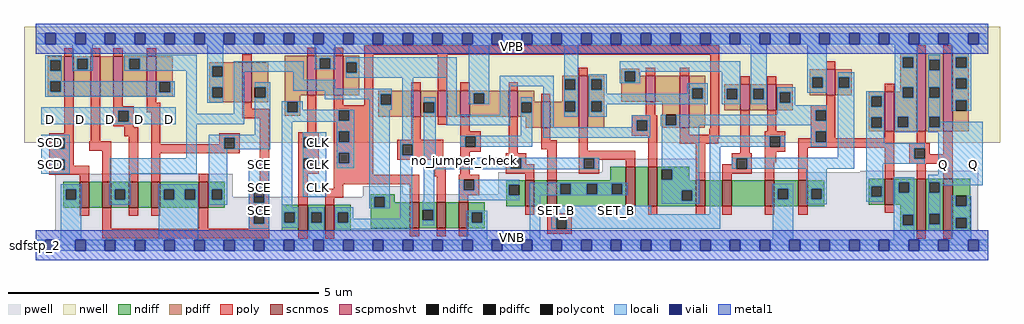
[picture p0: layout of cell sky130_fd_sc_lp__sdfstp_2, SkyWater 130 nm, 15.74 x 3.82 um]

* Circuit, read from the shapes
.subckt sky130_fd_sc_lp__sdfstp_2 CLK D SCD SCE SET_B VGND VNB VPB VPWR Q
XM1 n1 SCD VGND VNB sky130_fd_pr__nfet_01v8 w=0.42 l=0.15
XM2 n2 SCE n1 VNB sky130_fd_pr__nfet_01v8 w=0.42 l=0.15
XM3 n3 D n2 VNB sky130_fd_pr__nfet_01v8 w=0.42 l=0.15
XM4 VGND n4 n3 VNB sky130_fd_pr__nfet_01v8 w=0.42 l=0.15
XM5 n4 SCE VGND VNB sky130_fd_pr__nfet_01v8 w=0.42 l=0.15
XM6 VGND CLK n5 VNB sky130_fd_pr__nfet_01v8 w=0.42 l=0.15
XM7 n6 n5 VGND VNB sky130_fd_pr__nfet_01v8 w=0.42 l=0.15
XM8 n7 n5 n2 VNB sky130_fd_pr__nfet_01v8 w=0.42 l=0.15
XM9 n8 n6 n7 VNB sky130_fd_pr__nfet_01v8 w=0.42 l=0.15
XM10 VGND n9 n8 VNB sky130_fd_pr__nfet_01v8 w=0.42 l=0.15
XM11 n10 n7 n9 VNB sky130_fd_pr__nfet_01v8 w=0.42 l=0.15
XM12 VGND SET_B n10 VNB sky130_fd_pr__nfet_01v8 w=0.42 l=0.15
XM13 n11 n7 VGND VNB sky130_fd_pr__nfet_01v8 w=0.64 l=0.15
XM14 n12 n6 n11 VNB sky130_fd_pr__nfet_01v8 w=0.64 l=0.15
XM15 n13 n5 n12 VNB sky130_fd_pr__nfet_01v8 w=0.42 l=0.15
XM16 n14 n15 n13 VNB sky130_fd_pr__nfet_01v8 w=0.42 l=0.15
XM17 VGND SET_B n14 VNB sky130_fd_pr__nfet_01v8 w=0.42 l=0.15
XM18 n15 n12 VGND VNB sky130_fd_pr__nfet_01v8 w=0.42 l=0.15
XM19 VGND n12 n16 VNB sky130_fd_pr__nfet_01v8 w=0.42 l=0.15
XM20 Q n16 VGND VNB sky130_fd_pr__nfet_01v8 w=0.84 l=0.15 m=2
XM21 VPWR SCD n17 VPB sky130_fd_pr__pfet_01v8_hvt w=0.64 l=0.15
XM22 n18 SCE VPWR VPB sky130_fd_pr__pfet_01v8_hvt w=0.64 l=0.15
XM23 n2 D n18 VPB sky130_fd_pr__pfet_01v8_hvt w=0.64 l=0.15
XM24 n17 n4 n2 VPB sky130_fd_pr__pfet_01v8_hvt w=0.64 l=0.15
XM25 n4 SCE VPWR VPB sky130_fd_pr__pfet_01v8_hvt w=0.64 l=0.15
XM26 VPWR CLK n5 VPB sky130_fd_pr__pfet_01v8_hvt w=0.64 l=0.15
XM27 n6 n5 VPWR VPB sky130_fd_pr__pfet_01v8_hvt w=0.64 l=0.15
XM28 n7 n6 n2 VPB sky130_fd_pr__pfet_01v8_hvt w=0.42 l=0.15
XM29 n19 n5 n7 VPB sky130_fd_pr__pfet_01v8_hvt w=0.42 l=0.15
XM30 VPWR n9 n19 VPB sky130_fd_pr__pfet_01v8_hvt w=0.42 l=0.15
XM31 n9 n7 VPWR VPB sky130_fd_pr__pfet_01v8_hvt w=0.42 l=0.15
XM32 VPWR SET_B n9 VPB sky130_fd_pr__pfet_01v8_hvt w=0.42 l=0.15
XM33 n20 n7 VPWR VPB sky130_fd_pr__pfet_01v8_hvt w=0.84 l=0.15
XM34 n12 n6 n21 VPB sky130_fd_pr__pfet_01v8_hvt w=0.42 l=0.15
XM35 n20 n5 n12 VPB sky130_fd_pr__pfet_01v8_hvt w=0.84 l=0.15
XM36 VPWR n15 n21 VPB sky130_fd_pr__pfet_01v8_hvt w=0.42 l=0.15
XM37 n12 SET_B VPWR VPB sky130_fd_pr__pfet_01v8_hvt w=0.42 l=0.15
XM38 n15 n12 VPWR VPB sky130_fd_pr__pfet_01v8_hvt w=0.42 l=0.15
XM39 VPWR n12 n16 VPB sky130_fd_pr__pfet_01v8_hvt w=0.64 l=0.15
XM40 Q n16 VPWR VPB sky130_fd_pr__pfet_01v8_hvt w=1.26 l=0.15 m=2
.ends

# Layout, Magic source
magic
tech sky130A
magscale 1 2
<< nwell >>
rect -38 331 3110 704
<< pwell >>
rect 1827 235 2133 279
rect 2660 235 3040 241
rect 63 157 635 231
rect 1054 165 1184 191
rect 1491 165 3040 235
rect 1054 157 3040 165
rect 63 49 3040 157
rect 0 0 3072 49
<< scnmos >>
rect 142 121 172 205
rect 214 121 244 205
rect 300 121 330 205
rect 372 121 402 205
rect 526 121 556 205
rect 847 47 877 131
rect 933 47 963 131
rect 1207 55 1237 139
rect 1293 55 1323 139
rect 1365 55 1395 139
rect 1578 125 1608 209
rect 1650 125 1680 209
rect 1903 125 1933 253
rect 1975 125 2005 253
rect 2129 125 2159 209
rect 2214 125 2244 209
rect 2352 125 2382 209
rect 2460 125 2490 209
rect 2739 131 2769 215
rect 2841 47 2871 215
rect 2927 47 2957 215
<< scpmoshvt >>
rect 92 481 122 609
rect 178 481 208 609
rect 250 481 280 609
rect 358 481 388 609
rect 666 462 696 590
rect 875 483 905 611
rect 961 483 991 611
rect 1211 415 1241 499
rect 1297 415 1327 499
rect 1369 415 1399 499
rect 1525 415 1555 499
rect 1630 379 1660 463
rect 1751 379 1781 547
rect 1968 463 1998 547
rect 2077 379 2107 547
rect 2273 435 2303 519
rect 2359 435 2389 519
rect 2549 483 2579 567
rect 2739 367 2769 495
rect 2841 367 2871 619
rect 2927 367 2957 619
<< ndiff >>
rect 89 180 142 205
rect 89 146 97 180
rect 131 146 142 180
rect 89 121 142 146
rect 172 121 214 205
rect 244 180 300 205
rect 244 146 255 180
rect 289 146 300 180
rect 244 121 300 146
rect 330 121 372 205
rect 402 180 526 205
rect 402 146 413 180
rect 447 146 481 180
rect 515 146 526 180
rect 402 121 526 146
rect 556 180 609 205
rect 556 146 567 180
rect 601 146 609 180
rect 556 121 609 146
rect 1080 157 1158 165
rect 794 106 847 131
rect 794 72 802 106
rect 836 72 847 106
rect 794 47 847 72
rect 877 106 933 131
rect 877 72 888 106
rect 922 72 933 106
rect 877 47 933 72
rect 963 106 1016 131
rect 963 72 974 106
rect 1008 72 1016 106
rect 963 47 1016 72
rect 1080 123 1092 157
rect 1126 139 1158 157
rect 1853 209 1903 253
rect 1517 195 1578 209
rect 1517 161 1525 195
rect 1559 161 1578 195
rect 1126 123 1207 139
rect 1080 55 1207 123
rect 1237 115 1293 139
rect 1237 81 1248 115
rect 1282 81 1293 115
rect 1237 55 1293 81
rect 1323 55 1365 139
rect 1395 106 1448 139
rect 1517 125 1578 161
rect 1608 125 1650 209
rect 1680 198 1903 209
rect 1680 164 1691 198
rect 1725 164 1777 198
rect 1811 164 1858 198
rect 1892 164 1903 198
rect 1680 125 1903 164
rect 1933 125 1975 253
rect 2005 245 2107 253
rect 2005 211 2019 245
rect 2053 211 2107 245
rect 2005 209 2107 211
rect 2005 177 2129 209
rect 2005 143 2084 177
rect 2118 143 2129 177
rect 2005 125 2129 143
rect 2159 125 2214 209
rect 2244 125 2352 209
rect 2382 183 2460 209
rect 2382 149 2393 183
rect 2427 149 2460 183
rect 2382 125 2460 149
rect 2490 183 2543 209
rect 2490 149 2501 183
rect 2535 149 2543 183
rect 2490 125 2543 149
rect 2686 190 2739 215
rect 2686 156 2694 190
rect 2728 156 2739 190
rect 2686 131 2739 156
rect 2769 203 2841 215
rect 2769 169 2784 203
rect 2818 169 2841 203
rect 2769 131 2841 169
rect 1395 72 1406 106
rect 1440 72 1448 106
rect 1395 55 1448 72
rect 2788 99 2841 131
rect 2788 65 2796 99
rect 2830 65 2841 99
rect 2788 47 2841 65
rect 2871 203 2927 215
rect 2871 169 2882 203
rect 2916 169 2927 203
rect 2871 101 2927 169
rect 2871 67 2882 101
rect 2916 67 2927 101
rect 2871 47 2927 67
rect 2957 159 3014 215
rect 2957 125 2968 159
rect 3002 125 3014 159
rect 2957 89 3014 125
rect 2957 55 2968 89
rect 3002 55 3014 89
rect 2957 47 3014 55
<< pdiff >>
rect 39 597 92 609
rect 39 563 47 597
rect 81 563 92 597
rect 39 529 92 563
rect 39 495 47 529
rect 81 495 92 529
rect 39 481 92 495
rect 122 601 178 609
rect 122 567 133 601
rect 167 567 178 601
rect 122 481 178 567
rect 208 481 250 609
rect 280 601 358 609
rect 280 567 302 601
rect 336 567 358 601
rect 280 481 358 567
rect 388 527 441 609
rect 388 493 399 527
rect 433 493 441 527
rect 388 481 441 493
rect 559 578 666 590
rect 559 544 569 578
rect 603 544 666 578
rect 559 510 666 544
rect 559 476 569 510
rect 603 476 666 510
rect 559 462 666 476
rect 696 510 749 590
rect 696 476 707 510
rect 741 476 749 510
rect 696 462 749 476
rect 803 483 875 611
rect 905 603 961 611
rect 905 569 916 603
rect 950 569 961 603
rect 905 483 961 569
rect 991 591 1044 611
rect 991 557 1002 591
rect 1036 557 1044 591
rect 991 483 1044 557
rect 803 463 853 483
rect 803 429 811 463
rect 845 429 853 463
rect 803 417 853 429
rect 1888 561 1946 569
rect 1698 535 1751 547
rect 1698 501 1706 535
rect 1740 501 1751 535
rect 1104 487 1211 499
rect 1104 453 1112 487
rect 1146 453 1211 487
rect 1104 415 1211 453
rect 1241 461 1297 499
rect 1241 427 1252 461
rect 1286 427 1297 461
rect 1241 415 1297 427
rect 1327 415 1369 499
rect 1399 491 1525 499
rect 1399 457 1412 491
rect 1446 457 1525 491
rect 1399 415 1525 457
rect 1555 463 1608 499
rect 1698 465 1751 501
rect 1698 463 1706 465
rect 1555 461 1630 463
rect 1555 427 1566 461
rect 1600 427 1630 461
rect 1555 415 1630 427
rect 1580 379 1630 415
rect 1660 431 1706 463
rect 1740 431 1751 465
rect 1660 379 1751 431
rect 1781 535 1834 547
rect 1781 501 1792 535
rect 1826 501 1834 535
rect 1781 465 1834 501
rect 1781 431 1792 465
rect 1826 431 1834 465
rect 1888 527 1900 561
rect 1934 547 1946 561
rect 1934 527 1968 547
rect 1888 463 1968 527
rect 1998 463 2077 547
rect 1781 379 1834 431
rect 2020 421 2077 463
rect 2020 387 2032 421
rect 2066 387 2077 421
rect 2020 379 2077 387
rect 2107 507 2160 547
rect 2107 473 2118 507
rect 2152 473 2160 507
rect 2107 390 2160 473
rect 2107 379 2157 390
rect 2788 607 2841 619
rect 2788 573 2796 607
rect 2830 573 2841 607
rect 2496 542 2549 567
rect 2220 505 2273 519
rect 2220 471 2228 505
rect 2262 471 2273 505
rect 2220 435 2273 471
rect 2303 505 2359 519
rect 2303 471 2314 505
rect 2348 471 2359 505
rect 2303 435 2359 471
rect 2389 494 2442 519
rect 2389 460 2400 494
rect 2434 460 2442 494
rect 2496 508 2504 542
rect 2538 508 2549 542
rect 2496 483 2549 508
rect 2579 542 2632 567
rect 2579 508 2590 542
rect 2624 508 2632 542
rect 2579 483 2632 508
rect 2788 510 2841 573
rect 2788 495 2796 510
rect 2389 435 2442 460
rect 2686 481 2739 495
rect 2686 447 2694 481
rect 2728 447 2739 481
rect 2686 413 2739 447
rect 2686 379 2694 413
rect 2728 379 2739 413
rect 2686 367 2739 379
rect 2769 476 2796 495
rect 2830 476 2841 510
rect 2769 415 2841 476
rect 2769 381 2780 415
rect 2814 381 2841 415
rect 2769 367 2841 381
rect 2871 599 2927 619
rect 2871 565 2882 599
rect 2916 565 2927 599
rect 2871 509 2927 565
rect 2871 475 2882 509
rect 2916 475 2927 509
rect 2871 415 2927 475
rect 2871 381 2882 415
rect 2916 381 2927 415
rect 2871 367 2927 381
rect 2957 607 3010 619
rect 2957 573 2968 607
rect 3002 573 3010 607
rect 2957 539 3010 573
rect 2957 505 2968 539
rect 3002 505 3010 539
rect 2957 467 3010 505
rect 2957 433 2968 467
rect 3002 433 3010 467
rect 2957 367 3010 433
<< ndiffc >>
rect 97 146 131 180
rect 255 146 289 180
rect 413 146 447 180
rect 481 146 515 180
rect 567 146 601 180
rect 802 72 836 106
rect 888 72 922 106
rect 974 72 1008 106
rect 1092 123 1126 157
rect 1525 161 1559 195
rect 1248 81 1282 115
rect 1691 164 1725 198
rect 1777 164 1811 198
rect 1858 164 1892 198
rect 2019 211 2053 245
rect 2084 143 2118 177
rect 2393 149 2427 183
rect 2501 149 2535 183
rect 2694 156 2728 190
rect 2784 169 2818 203
rect 1406 72 1440 106
rect 2796 65 2830 99
rect 2882 169 2916 203
rect 2882 67 2916 101
rect 2968 125 3002 159
rect 2968 55 3002 89
<< pdiffc >>
rect 47 563 81 597
rect 47 495 81 529
rect 133 567 167 601
rect 302 567 336 601
rect 399 493 433 527
rect 569 544 603 578
rect 569 476 603 510
rect 707 476 741 510
rect 916 569 950 603
rect 1002 557 1036 591
rect 811 429 845 463
rect 1706 501 1740 535
rect 1112 453 1146 487
rect 1252 427 1286 461
rect 1412 457 1446 491
rect 1566 427 1600 461
rect 1706 431 1740 465
rect 1792 501 1826 535
rect 1792 431 1826 465
rect 1900 527 1934 561
rect 2032 387 2066 421
rect 2118 473 2152 507
rect 2796 573 2830 607
rect 2228 471 2262 505
rect 2314 471 2348 505
rect 2400 460 2434 494
rect 2504 508 2538 542
rect 2590 508 2624 542
rect 2694 447 2728 481
rect 2694 379 2728 413
rect 2796 476 2830 510
rect 2780 381 2814 415
rect 2882 565 2916 599
rect 2882 475 2916 509
rect 2882 381 2916 415
rect 2968 573 3002 607
rect 2968 505 3002 539
rect 2968 433 3002 467
<< poly >>
rect 92 609 122 635
rect 178 609 208 635
rect 250 609 280 635
rect 358 609 388 635
rect 666 590 696 616
rect 875 611 905 637
rect 961 611 991 637
rect 1059 615 2205 645
rect 2841 619 2871 645
rect 2927 619 2957 645
rect 92 361 122 481
rect 44 345 122 361
rect 44 311 60 345
rect 94 311 122 345
rect 178 335 208 481
rect 250 449 280 481
rect 358 459 388 481
rect 250 433 316 449
rect 250 399 266 433
rect 300 399 316 433
rect 358 429 402 459
rect 250 383 316 399
rect 286 381 316 383
rect 286 351 330 381
rect 44 277 122 311
rect 172 305 244 335
rect 44 243 60 277
rect 94 257 122 277
rect 94 243 172 257
rect 44 227 172 243
rect 142 205 172 227
rect 214 205 244 305
rect 300 205 330 351
rect 372 326 402 429
rect 666 440 696 462
rect 666 410 753 440
rect 592 346 658 362
rect 592 326 608 346
rect 372 312 608 326
rect 642 312 658 346
rect 372 296 658 312
rect 372 205 402 296
rect 526 205 556 231
rect 723 187 753 410
rect 875 365 905 483
rect 961 451 991 483
rect 1059 451 1089 615
rect 1211 499 1241 525
rect 1297 499 1327 615
rect 1751 547 1781 573
rect 1369 499 1399 525
rect 1525 499 1555 525
rect 961 435 1089 451
rect 961 401 977 435
rect 1011 401 1089 435
rect 1630 463 1660 489
rect 961 367 1089 401
rect 687 171 753 187
rect 687 137 703 171
rect 737 137 753 171
rect 142 95 172 121
rect 214 53 244 121
rect 300 95 330 121
rect 372 95 402 121
rect 526 53 556 121
rect 687 103 753 137
rect 847 349 913 365
rect 847 315 863 349
rect 897 315 913 349
rect 847 281 913 315
rect 847 247 863 281
rect 897 247 913 281
rect 847 231 913 247
rect 961 333 977 367
rect 1011 333 1089 367
rect 1211 341 1241 415
rect 1297 389 1327 415
rect 1369 367 1399 415
rect 1369 351 1435 367
rect 961 299 1089 333
rect 961 265 977 299
rect 1011 265 1089 299
rect 1166 325 1315 341
rect 1166 291 1182 325
rect 1216 291 1315 325
rect 1166 275 1315 291
rect 847 131 877 231
rect 961 227 1089 265
rect 1285 253 1315 275
rect 1369 317 1385 351
rect 1419 317 1435 351
rect 1369 301 1435 317
rect 961 197 1237 227
rect 1285 223 1323 253
rect 1369 227 1399 301
rect 1525 297 1555 415
rect 1968 547 1998 573
rect 2077 547 2107 573
rect 1968 419 1998 463
rect 1922 403 2005 419
rect 1630 339 1660 379
rect 1630 309 1680 339
rect 1516 281 1582 297
rect 1516 247 1532 281
rect 1566 261 1582 281
rect 1566 247 1608 261
rect 1516 231 1608 247
rect 961 183 991 197
rect 933 153 991 183
rect 933 131 963 153
rect 687 69 703 103
rect 737 69 753 103
rect 687 53 753 69
rect 214 23 753 53
rect 1207 139 1237 197
rect 1293 139 1323 223
rect 1365 211 1431 227
rect 1365 177 1381 211
rect 1415 177 1431 211
rect 1578 209 1608 231
rect 1650 209 1680 309
rect 1751 305 1781 379
rect 1922 369 1938 403
rect 1972 369 2005 403
rect 1922 353 2005 369
rect 1751 281 1933 305
rect 1751 247 1767 281
rect 1801 275 1933 281
rect 1801 247 1817 275
rect 1903 253 1933 275
rect 1975 253 2005 353
rect 2077 357 2107 379
rect 2175 375 2205 615
rect 2549 567 2579 593
rect 2273 519 2303 545
rect 2359 519 2389 545
rect 2739 495 2769 521
rect 2549 451 2579 483
rect 2500 435 2579 451
rect 2172 357 2205 375
rect 2077 345 2205 357
rect 2077 327 2202 345
rect 1751 231 1817 247
rect 1365 161 1431 177
rect 1365 139 1395 161
rect 2129 209 2159 327
rect 2273 297 2303 435
rect 2359 367 2389 435
rect 2500 401 2516 435
rect 2550 401 2579 435
rect 2500 367 2579 401
rect 2352 351 2418 367
rect 2352 317 2368 351
rect 2402 317 2418 351
rect 2500 345 2516 367
rect 2352 301 2418 317
rect 2460 333 2516 345
rect 2550 345 2579 367
rect 2739 345 2769 367
rect 2550 333 2769 345
rect 2460 315 2769 333
rect 2841 329 2871 367
rect 2244 281 2310 297
rect 2244 261 2260 281
rect 2214 247 2260 261
rect 2294 247 2310 281
rect 2214 231 2310 247
rect 2352 267 2388 301
rect 2214 209 2244 231
rect 2352 209 2382 267
rect 2460 209 2490 315
rect 2739 215 2769 315
rect 2817 313 2883 329
rect 2817 279 2833 313
rect 2867 293 2883 313
rect 2927 293 2957 367
rect 2867 279 2957 293
rect 2817 263 2957 279
rect 2841 215 2871 263
rect 2927 215 2957 263
rect 1578 99 1608 125
rect 1650 103 1680 125
rect 1650 87 1729 103
rect 1903 99 1933 125
rect 1975 99 2005 125
rect 2129 99 2159 125
rect 2214 99 2244 125
rect 2352 99 2382 125
rect 2460 99 2490 125
rect 2739 105 2769 131
rect 847 21 877 47
rect 933 21 963 47
rect 1207 29 1237 55
rect 1293 29 1323 55
rect 1365 29 1395 55
rect 1650 53 1679 87
rect 1713 53 1729 87
rect 1650 37 1729 53
rect 2841 21 2871 47
rect 2927 21 2957 47
<< polycont >>
rect 60 311 94 345
rect 266 399 300 433
rect 60 243 94 277
rect 608 312 642 346
rect 977 401 1011 435
rect 703 137 737 171
rect 863 315 897 349
rect 863 247 897 281
rect 977 333 1011 367
rect 977 265 1011 299
rect 1182 291 1216 325
rect 1385 317 1419 351
rect 1532 247 1566 281
rect 703 69 737 103
rect 1381 177 1415 211
rect 1938 369 1972 403
rect 1767 247 1801 281
rect 2516 401 2550 435
rect 2368 317 2402 351
rect 2516 333 2550 367
rect 2260 247 2294 281
rect 2833 279 2867 313
rect 1679 53 1713 87
<< locali >>
rect 0 649 31 683
rect 65 649 127 683
rect 161 649 223 683
rect 257 649 319 683
rect 353 649 415 683
rect 449 649 511 683
rect 545 649 607 683
rect 641 649 703 683
rect 737 649 799 683
rect 833 649 895 683
rect 929 649 991 683
rect 1025 649 1087 683
rect 1121 649 1183 683
rect 1217 649 1279 683
rect 1313 649 1375 683
rect 1409 649 1471 683
rect 1505 649 1567 683
rect 1601 649 1663 683
rect 1697 649 1759 683
rect 1793 649 1855 683
rect 1889 649 1951 683
rect 1985 649 2047 683
rect 2081 649 2143 683
rect 2177 649 2239 683
rect 2273 649 2335 683
rect 2369 649 2431 683
rect 2465 649 2527 683
rect 2561 649 2623 683
rect 2657 649 2719 683
rect 2753 649 2815 683
rect 2849 649 2911 683
rect 2945 649 3007 683
rect 3041 649 3072 683
rect 31 597 83 613
rect 31 563 47 597
rect 81 563 83 597
rect 117 601 183 649
rect 117 567 133 601
rect 167 567 183 601
rect 117 563 183 567
rect 286 601 519 615
rect 286 567 302 601
rect 336 567 519 601
rect 286 563 519 567
rect 31 529 83 563
rect 31 495 47 529
rect 81 527 449 529
rect 81 495 399 527
rect 31 493 399 495
rect 433 493 449 527
rect 31 479 449 493
rect 17 433 451 445
rect 17 399 266 433
rect 300 399 451 433
rect 17 390 451 399
rect 485 424 519 563
rect 553 578 605 649
rect 900 603 966 649
rect 553 544 569 578
rect 603 544 605 578
rect 553 510 605 544
rect 553 476 569 510
rect 603 476 605 510
rect 553 460 605 476
rect 639 560 864 594
rect 900 569 916 603
rect 950 569 966 603
rect 900 567 966 569
rect 1000 591 1358 607
rect 639 424 673 560
rect 830 533 864 560
rect 1000 557 1002 591
rect 1036 557 1358 591
rect 1000 541 1358 557
rect 485 390 673 424
rect 707 510 757 526
rect 741 476 757 510
rect 830 505 966 533
rect 830 499 1148 505
rect 17 345 110 356
rect 17 311 60 345
rect 94 311 110 345
rect 17 277 110 311
rect 485 281 519 390
rect 707 356 757 476
rect 932 487 1148 499
rect 932 471 1112 487
rect 17 243 60 277
rect 94 243 110 277
rect 17 230 110 243
rect 239 230 519 281
rect 558 346 757 356
rect 558 312 608 346
rect 642 312 757 346
rect 558 310 757 312
rect 793 463 861 465
rect 793 429 811 463
rect 845 437 861 463
rect 1076 453 1112 471
rect 1146 453 1148 487
rect 1076 437 1148 453
rect 845 435 1027 437
rect 845 429 977 435
rect 793 401 977 429
rect 1011 401 1027 435
rect 793 399 1027 401
rect 81 180 147 196
rect 81 146 97 180
rect 131 146 147 180
rect 81 17 147 146
rect 239 180 305 230
rect 239 146 255 180
rect 289 146 305 180
rect 239 130 305 146
rect 397 180 524 196
rect 397 146 413 180
rect 447 146 481 180
rect 515 146 524 180
rect 397 17 524 146
rect 558 180 617 310
rect 558 146 567 180
rect 601 146 617 180
rect 558 130 617 146
rect 687 171 753 276
rect 687 137 703 171
rect 737 137 753 171
rect 687 103 753 137
rect 687 69 703 103
rect 737 69 753 103
rect 687 53 753 69
rect 793 122 827 399
rect 971 367 1027 399
rect 861 349 937 365
rect 861 315 863 349
rect 897 315 937 349
rect 861 281 937 315
rect 861 247 863 281
rect 897 247 937 281
rect 971 333 977 367
rect 1011 333 1027 367
rect 971 299 1027 333
rect 971 265 977 299
rect 1011 265 1027 299
rect 971 249 1027 265
rect 861 156 937 247
rect 1076 157 1142 437
rect 1182 341 1218 541
rect 1076 123 1092 157
rect 1126 123 1142 157
rect 793 106 846 122
rect 793 72 802 106
rect 836 72 846 106
rect 793 56 846 72
rect 880 106 931 122
rect 880 72 888 106
rect 922 72 931 106
rect 880 17 931 72
rect 965 106 1024 122
rect 1076 119 1142 123
rect 1176 325 1218 341
rect 1176 291 1182 325
rect 1216 291 1218 325
rect 1176 275 1218 291
rect 1252 461 1290 477
rect 1286 427 1290 461
rect 1252 283 1290 427
rect 1324 421 1358 541
rect 1396 491 1462 649
rect 1396 457 1412 491
rect 1446 457 1462 491
rect 1396 455 1462 457
rect 1496 513 1670 547
rect 1496 421 1530 513
rect 1324 387 1530 421
rect 1564 461 1602 477
rect 1564 427 1566 461
rect 1600 427 1602 461
rect 1564 353 1602 427
rect 1369 351 1602 353
rect 1369 317 1385 351
rect 1419 317 1602 351
rect 1636 381 1670 513
rect 1704 535 1749 649
rect 1884 561 2272 593
rect 1704 501 1706 535
rect 1740 501 1749 535
rect 1704 465 1749 501
rect 1704 431 1706 465
rect 1740 431 1749 465
rect 1704 415 1749 431
rect 1783 535 1842 551
rect 1783 501 1792 535
rect 1826 501 1842 535
rect 1884 527 1900 561
rect 1934 559 2272 561
rect 1934 527 1950 559
rect 1884 523 1950 527
rect 1783 489 1842 501
rect 2102 507 2168 523
rect 2102 489 2118 507
rect 1783 473 2118 489
rect 2152 473 2168 507
rect 1783 465 2168 473
rect 1783 431 1792 465
rect 1826 455 2168 465
rect 2212 505 2272 559
rect 2212 471 2228 505
rect 2262 471 2272 505
rect 2212 455 2272 471
rect 2306 505 2357 649
rect 2488 542 2552 649
rect 2771 607 2844 649
rect 2771 573 2796 607
rect 2830 573 2844 607
rect 2306 471 2314 505
rect 2348 471 2357 505
rect 2306 455 2357 471
rect 2391 494 2450 510
rect 2391 460 2400 494
rect 2434 460 2450 494
rect 2488 508 2504 542
rect 2538 508 2552 542
rect 2488 492 2552 508
rect 2586 542 2640 558
rect 2586 508 2590 542
rect 2624 508 2640 542
rect 1826 431 1842 455
rect 1783 415 1842 431
rect 2391 451 2450 460
rect 2391 435 2552 451
rect 2391 421 2516 435
rect 1922 403 1982 419
rect 1922 381 1938 403
rect 1636 369 1938 381
rect 1972 369 1982 403
rect 2016 387 2032 421
rect 2066 401 2516 421
rect 2550 401 2552 435
rect 2066 387 2552 401
rect 2016 383 2140 387
rect 1636 347 1982 369
rect 1252 281 1817 283
rect 965 72 974 106
rect 1008 85 1024 106
rect 1176 85 1214 275
rect 1252 247 1532 281
rect 1566 247 1767 281
rect 1801 247 1817 281
rect 1252 245 1817 247
rect 2019 245 2140 383
rect 2500 367 2552 387
rect 1252 143 1286 245
rect 2053 211 2140 245
rect 1365 177 1381 211
rect 1415 195 1559 211
rect 1415 177 1525 195
rect 1365 161 1525 177
rect 1365 145 1559 161
rect 1593 198 1908 202
rect 1593 164 1691 198
rect 1725 164 1777 198
rect 1811 164 1858 198
rect 1892 164 1908 198
rect 1593 162 1908 164
rect 2019 177 2140 211
rect 1008 72 1214 85
rect 965 51 1214 72
rect 1248 115 1286 143
rect 1282 81 1286 115
rect 1248 65 1286 81
rect 1390 106 1456 111
rect 1390 72 1406 106
rect 1440 72 1456 106
rect 1390 17 1456 72
rect 1593 17 1627 162
rect 2019 143 2084 177
rect 2118 143 2140 177
rect 2019 134 2140 143
rect 2174 351 2418 353
rect 2174 317 2368 351
rect 2402 317 2418 351
rect 2500 333 2516 367
rect 2550 333 2552 367
rect 2500 317 2552 333
rect 1663 100 1985 128
rect 2174 100 2208 317
rect 2586 283 2640 508
rect 2771 510 2844 573
rect 2244 281 2640 283
rect 2244 247 2260 281
rect 2294 247 2640 281
rect 2678 481 2737 497
rect 2678 447 2694 481
rect 2728 447 2737 481
rect 2678 413 2737 447
rect 2678 379 2694 413
rect 2728 379 2737 413
rect 2678 329 2737 379
rect 2771 476 2796 510
rect 2830 476 2844 510
rect 2771 415 2844 476
rect 2771 381 2780 415
rect 2814 381 2844 415
rect 2771 365 2844 381
rect 2878 599 2918 615
rect 2878 565 2882 599
rect 2916 565 2918 599
rect 2878 509 2918 565
rect 2878 475 2882 509
rect 2916 475 2918 509
rect 2878 415 2918 475
rect 2952 607 3018 649
rect 2952 573 2968 607
rect 3002 573 3018 607
rect 2952 539 3018 573
rect 2952 505 2968 539
rect 3002 505 3018 539
rect 2952 467 3018 505
rect 2952 433 2968 467
rect 3002 433 3018 467
rect 2878 381 2882 415
rect 2916 399 2918 415
rect 2916 381 3055 399
rect 2878 365 3055 381
rect 2678 313 2867 329
rect 2678 279 2833 313
rect 2678 263 2867 279
rect 1663 87 2208 100
rect 1663 53 1679 87
rect 1713 53 2208 87
rect 2377 183 2443 199
rect 2377 149 2393 183
rect 2427 149 2443 183
rect 2377 17 2443 149
rect 2485 183 2551 247
rect 2485 149 2501 183
rect 2535 149 2551 183
rect 2485 133 2551 149
rect 2678 190 2734 263
rect 2911 227 3055 365
rect 2678 156 2694 190
rect 2728 156 2734 190
rect 2678 140 2734 156
rect 2768 203 2834 219
rect 2768 169 2784 203
rect 2818 169 2834 203
rect 2768 99 2834 169
rect 2768 65 2796 99
rect 2830 65 2834 99
rect 2768 17 2834 65
rect 2878 203 3055 227
rect 2878 169 2882 203
rect 2916 193 3055 203
rect 2916 169 2918 193
rect 2878 101 2918 169
rect 2878 67 2882 101
rect 2916 67 2918 101
rect 2878 51 2918 67
rect 2952 125 2968 159
rect 3002 125 3018 159
rect 2952 89 3018 125
rect 2952 55 2968 89
rect 3002 55 3018 89
rect 2952 17 3018 55
rect 0 -17 31 17
rect 65 -17 127 17
rect 161 -17 223 17
rect 257 -17 319 17
rect 353 -17 415 17
rect 449 -17 511 17
rect 545 -17 607 17
rect 641 -17 703 17
rect 737 -17 799 17
rect 833 -17 895 17
rect 929 -17 991 17
rect 1025 -17 1087 17
rect 1121 -17 1183 17
rect 1217 -17 1279 17
rect 1313 -17 1375 17
rect 1409 -17 1471 17
rect 1505 -17 1567 17
rect 1601 -17 1663 17
rect 1697 -17 1759 17
rect 1793 -17 1855 17
rect 1889 -17 1951 17
rect 1985 -17 2047 17
rect 2081 -17 2143 17
rect 2177 -17 2239 17
rect 2273 -17 2335 17
rect 2369 -17 2431 17
rect 2465 -17 2527 17
rect 2561 -17 2623 17
rect 2657 -17 2719 17
rect 2753 -17 2815 17
rect 2849 -17 2911 17
rect 2945 -17 3007 17
rect 3041 -17 3072 17
<< viali >>
rect 31 649 65 683
rect 127 649 161 683
rect 223 649 257 683
rect 319 649 353 683
rect 415 649 449 683
rect 511 649 545 683
rect 607 649 641 683
rect 703 649 737 683
rect 799 649 833 683
rect 895 649 929 683
rect 991 649 1025 683
rect 1087 649 1121 683
rect 1183 649 1217 683
rect 1279 649 1313 683
rect 1375 649 1409 683
rect 1471 649 1505 683
rect 1567 649 1601 683
rect 1663 649 1697 683
rect 1759 649 1793 683
rect 1855 649 1889 683
rect 1951 649 1985 683
rect 2047 649 2081 683
rect 2143 649 2177 683
rect 2239 649 2273 683
rect 2335 649 2369 683
rect 2431 649 2465 683
rect 2527 649 2561 683
rect 2623 649 2657 683
rect 2719 649 2753 683
rect 2815 649 2849 683
rect 2911 649 2945 683
rect 3007 649 3041 683
rect 31 -17 65 17
rect 127 -17 161 17
rect 223 -17 257 17
rect 319 -17 353 17
rect 415 -17 449 17
rect 511 -17 545 17
rect 607 -17 641 17
rect 703 -17 737 17
rect 799 -17 833 17
rect 895 -17 929 17
rect 991 -17 1025 17
rect 1087 -17 1121 17
rect 1183 -17 1217 17
rect 1279 -17 1313 17
rect 1375 -17 1409 17
rect 1471 -17 1505 17
rect 1567 -17 1601 17
rect 1663 -17 1697 17
rect 1759 -17 1793 17
rect 1855 -17 1889 17
rect 1951 -17 1985 17
rect 2047 -17 2081 17
rect 2143 -17 2177 17
rect 2239 -17 2273 17
rect 2335 -17 2369 17
rect 2431 -17 2465 17
rect 2527 -17 2561 17
rect 2623 -17 2657 17
rect 2719 -17 2753 17
rect 2815 -17 2849 17
rect 2911 -17 2945 17
rect 3007 -17 3041 17
<< metal1 >>
rect 0 683 3072 715
rect 0 649 31 683
rect 65 649 127 683
rect 161 649 223 683
rect 257 649 319 683
rect 353 649 415 683
rect 449 649 511 683
rect 545 649 607 683
rect 641 649 703 683
rect 737 649 799 683
rect 833 649 895 683
rect 929 649 991 683
rect 1025 649 1087 683
rect 1121 649 1183 683
rect 1217 649 1279 683
rect 1313 649 1375 683
rect 1409 649 1471 683
rect 1505 649 1567 683
rect 1601 649 1663 683
rect 1697 649 1759 683
rect 1793 649 1855 683
rect 1889 649 1951 683
rect 1985 649 2047 683
rect 2081 649 2143 683
rect 2177 649 2239 683
rect 2273 649 2335 683
rect 2369 649 2431 683
rect 2465 649 2527 683
rect 2561 649 2623 683
rect 2657 649 2719 683
rect 2753 649 2815 683
rect 2849 649 2911 683
rect 2945 649 3007 683
rect 3041 649 3072 683
rect 0 617 3072 649
rect 0 17 3072 49
rect 0 -17 31 17
rect 65 -17 127 17
rect 161 -17 223 17
rect 257 -17 319 17
rect 353 -17 415 17
rect 449 -17 511 17
rect 545 -17 607 17
rect 641 -17 703 17
rect 737 -17 799 17
rect 833 -17 895 17
rect 929 -17 991 17
rect 1025 -17 1087 17
rect 1121 -17 1183 17
rect 1217 -17 1279 17
rect 1313 -17 1375 17
rect 1409 -17 1471 17
rect 1505 -17 1567 17
rect 1601 -17 1663 17
rect 1697 -17 1759 17
rect 1793 -17 1855 17
rect 1889 -17 1951 17
rect 1985 -17 2047 17
rect 2081 -17 2143 17
rect 2177 -17 2239 17
rect 2273 -17 2335 17
rect 2369 -17 2431 17
rect 2465 -17 2527 17
rect 2561 -17 2623 17
rect 2657 -17 2719 17
rect 2753 -17 2815 17
rect 2849 -17 2911 17
rect 2945 -17 3007 17
rect 3041 -17 3072 17
rect 0 -49 3072 -17
<< labels >>
flabel pwell s 0 0 3072 49 0 FreeSans 200 0 0 0 VNB
port 7 nsew ground bidirectional
flabel nwell s 0 617 3072 666 0 FreeSans 200 0 0 0 VPB
port 8 nsew power bidirectional
rlabel comment s 0 0 0 0 4 sdfstp_2
flabel comment s 1382 272 1382 272 0 FreeSans 200 90 0 0 no_jumper_check
flabel metal1 s 0 617 3072 666 0 FreeSans 340 0 0 0 VPWR
port 9 nsew power bidirectional
flabel metal1 s 0 0 3072 49 0 FreeSans 340 0 0 0 VGND
port 6 nsew ground bidirectional
flabel locali s 895 168 929 202 0 FreeSans 340 0 0 0 CLK
port 1 nsew clock input
flabel locali s 895 242 929 276 0 FreeSans 340 0 0 0 CLK
port 1 nsew clock input
flabel locali s 895 316 929 350 0 FreeSans 340 0 0 0 CLK
port 1 nsew clock input
flabel locali s 703 94 737 128 0 FreeSans 340 0 0 0 SCE
port 4 nsew signal input
flabel locali s 703 168 737 202 0 FreeSans 340 0 0 0 SCE
port 4 nsew signal input
flabel locali s 703 242 737 276 0 FreeSans 340 0 0 0 SCE
port 4 nsew signal input
flabel locali s 31 242 65 276 0 FreeSans 340 0 0 0 SCD
port 3 nsew signal input
flabel locali s 31 316 65 350 0 FreeSans 340 0 0 0 SCD
port 3 nsew signal input
flabel locali s 31 390 65 424 0 FreeSans 340 0 0 0 D
port 2 nsew signal input
flabel locali s 127 390 161 424 0 FreeSans 340 0 0 0 D
port 2 nsew signal input
flabel locali s 223 390 257 424 0 FreeSans 340 0 0 0 D
port 2 nsew signal input
flabel locali s 319 390 353 424 0 FreeSans 340 0 0 0 D
port 2 nsew signal input
flabel locali s 415 390 449 424 0 FreeSans 340 0 0 0 D
port 2 nsew signal input
flabel locali s 2911 242 2945 276 0 FreeSans 340 0 0 0 Q
port 10 nsew signal output
flabel locali s 3007 242 3041 276 0 FreeSans 340 0 0 0 Q
port 10 nsew signal output
flabel locali s 1663 94 1697 128 0 FreeSans 340 0 0 0 SET_B
port 5 nsew signal input
flabel locali s 1759 94 1793 128 0 FreeSans 340 0 0 0 SET_B
port 5 nsew signal input
flabel locali s 1855 94 1889 128 0 FreeSans 340 0 0 0 SET_B
port 5 nsew signal input
flabel locali s 1951 94 1985 128 0 FreeSans 340 0 0 0 SET_B
port 5 nsew signal input
<< properties >>
string LEFsite unit
string LEFclass CORE
string FIXED_BBOX 0 0 3072 666
string GDS_FILE $PDKPATH/libs.ref/sky130_fd_sc_lp/gds/sky130_fd_sc_lp.gds
string LEFsymmetry X Y R90
string GDS_END 152778
string GDS_START 132074
<< end >>
